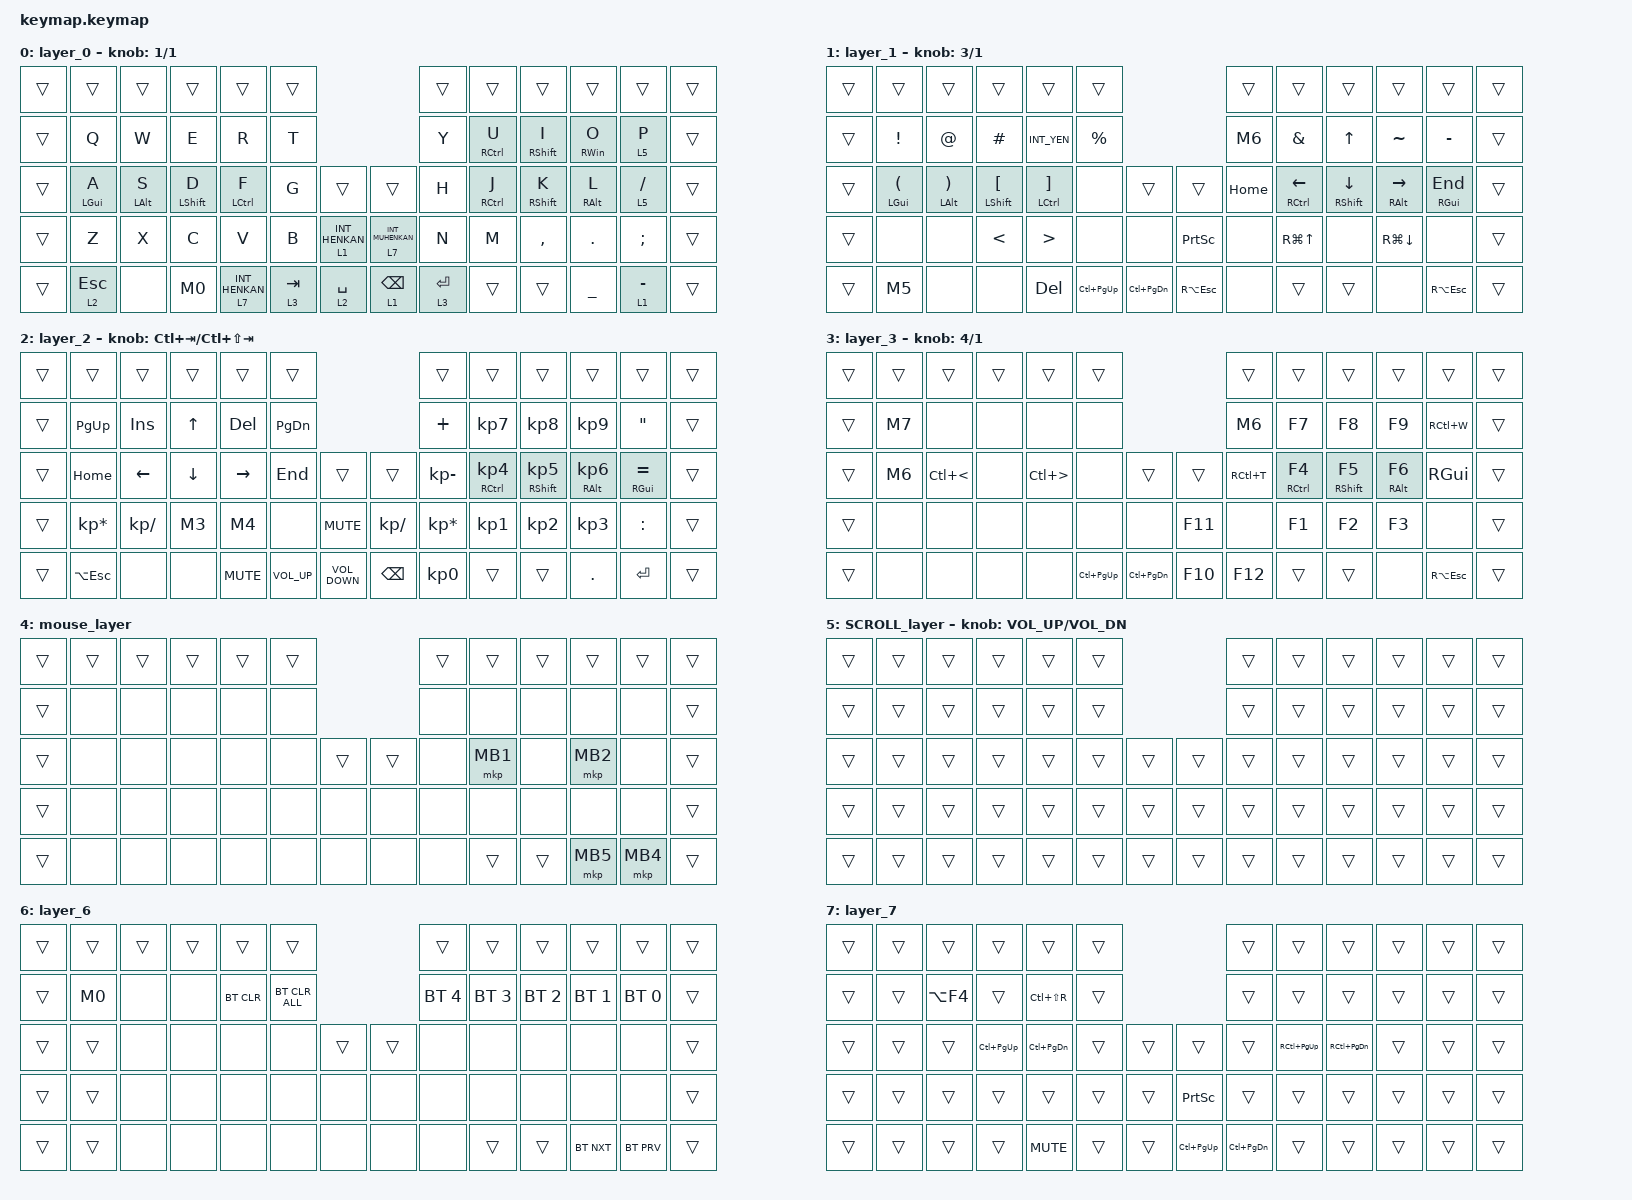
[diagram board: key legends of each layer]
#include <behaviors/hires_dial.dtsi>
#include <behaviors.dtsi>
#include <dt-bindings/zmk/bt.h>
#include <dt-bindings/zmk/keys.h>
#include <dt-bindings/zmk/pointing.h>

&mt {
    tapping-term-ms = <180>;
    flavor = "balanced";
    quick-tap-ms = <175>;
};

/ {
    combos {
        compatible = "zmk,combos";

        desktopright {
            bindings = <&kp RG(RC(RIGHT))>;
            key-positions = <35 36>;
            timeout-ms = <30>;
        };

        desktopleft {
            bindings = <&kp RG(RC(LEFT))>;
            key-positions = <33 32>;
            timeout-ms = <30>;
        };

        kigou {
            bindings = <&M1>;
            key-positions = <19 20>;
        };

        vlookup {
            bindings = <&M2>;
            key-positions = <48 47>;
        };

        layer7 {
            bindings = <&lt 7 DEL>;
            key-positions = <59 60>;
        };

        rogin {
            bindings = <&M0>;
            key-positions = <60 33 34 35 36>;
        };

        WINDOWLEFT {
            bindings = <&kp LG(LEFT_ARROW)>;
            key-positions = <14 15>;
            timeout-ms = <30>;
        };

        WINDOWRIGHT {
            bindings = <&kp LG(RIGHT)>;
            key-positions = <15 16>;
            timeout-ms = <30>;
        };

        copy {
            bindings = <&kp LC(C)>;
            key-positions = <33 34>;
        };

        paste {
            bindings = <&kp RC(RS(V))>;
            key-positions = <34 35>;
        };

        delete {
            bindings = <&kp RC(KP_MINUS)>;
            key-positions = <48 49>;
        };

        layer6 {
            bindings = <&lt 6 A>;
            key-positions = <58 59>;
        };

        copy_left {
            bindings = <&kp LC(C)>;
            key-positions = <42 41>;
        };

        paste_left {
            bindings = <&kp LC(V)>;
            key-positions = <28 27>;
        };
    };

    macros {
        M1: M1 {
            compatible = "zmk,behavior-macro";
            #binding-cells = <0>;
            bindings = <&kp INT5 &kp LEFT_PARENTHESIS &kp RIGHT_PARENTHESIS &kp LEFT &kp INT4>;
            label = "M1";
        };

        M0: M0 {
            compatible = "zmk,behavior-macro";
            #binding-cells = <0>;
            bindings = <&kp INT_MUHENKAN &kp KP_NUMBER_0 &kp KP_NUMBER_1 &kp KP_NUMBER_8 &kp KP_NUMBER_7 &kp KP_NUMBER_5 &kp KP_NUMBER_7 &kp KP_NUMBER_4 &kp KP_NUMBER_2 &kp INT_HENKAN>;
            label = "M0";
        };

        M2: M2 {
            compatible = "zmk,behavior-macro";
            #binding-cells = <0>;
            bindings = <&kp INTERNATIONAL_5 &kp EQUAL &kp V &kp L &kp O &kp O &kp K &kp U &kp P &kp LEFT_PARENTHESIS>;
            label = "M2";
        };

        M3: copy {
            compatible = "zmk,behavior-macro";
            #binding-cells = <0>;
            bindings = <&kp LC(C)>;
            label = "COPY";
        };

        M4: paste {
            compatible = "zmk,behavior-macro";
            #binding-cells = <0>;
            bindings = <&kp LC(V)>;
            label = "PASTE";
        };

        M5: M5 {
            compatible = "zmk,behavior-macro";
            #binding-cells = <0>;
            bindings = <&kp RA(F4)>;
            label = "M5";
        };

        M6: M6 {
            compatible = "zmk,behavior-macro";
            #binding-cells = <0>;
            bindings = <&kp G &kp I>;
            label = "M6";
        };

        M7: M7 {
            compatible = "zmk,behavior-macro";
            #binding-cells = <0>;
            bindings = <&kp G &kp D>;
            label = "M7";
        };
    };

    keymap {
        compatible = "zmk,keymap";

        layer_0 {
            bindings = <
&trans  &trans          &trans          &trans            &trans            &trans                                           &trans       &trans       &trans             &trans           &trans       &trans
&trans  &kp Q           &kp W           &kp E             &kp R             &kp T                                            &kp Y        &mt RCTRL U  &mt RIGHT_SHIFT I  &mt RIGHT_WIN O  &lt 5 P      &trans
&trans  &mt LEFT_GUI A  &mt LEFT_ALT S  &mt LEFT_SHIFT D  &mt LCTRL F       &kp G      &trans            &trans              &kp H        &mt RCTRL J  &mt RIGHT_SHIFT K  &mt RIGHT_ALT L  &lt 5 SLASH  &trans
&trans  &kp Z           &kp X           &kp C             &kp V             &kp B      &lt 1 INT_HENKAN  &lt 7 INT_MUHENKAN  &kp N        &kp M        &kp COMMA          &kp DOT          &kp SEMI     &trans
&trans  &lt 2 ESCAPE    &none           &M0               &lt 7 INT_HENKAN  &lt 3 TAB  &lt 2 SPACE       &lt 1 BACKSPACE     &lt 3 ENTER  &trans       &trans             &kp UNDERSCORE   &lt 1 MINUS  &trans
            >;
        };

        layer_1 {
            bindings = <
&trans  &trans                         &trans                          &trans               &trans            &trans                                              &trans    &trans            &trans           &trans               &trans             &trans
&trans  &kp EXCL                       &kp AT_SIGN                     &kp HASH             &kp INT_YEN       &kp PRCNT                                           &M6       &kp AMPS          &kp UP           &kp TILDE            &kp MINUS          &trans
&trans  &mt LEFT_GUI LEFT_PARENTHESIS  &mt LEFT_ALT RIGHT_PARENTHESIS  &mt LEFT_SHIFT LBKT  &mt LCTRL RBKT    &none            &trans             &trans          &kp HOME  &mt RCTRL LEFT    &mt RSHIFT DOWN  &mt RIGHT_ALT RIGHT  &mt RIGHT_GUI END  &trans
&trans  &none                          &none                           &kp LESS_THAN        &kp GREATER_THAN  &none            &none              &kp PSCRN       &none     &kp RG(UP_ARROW)  &none            &kp RG(DOWN_ARROW)   &none              &trans
&trans  &M5                            &none                           &none                &kp DELETE        &kp LC(PAGE_UP)  &kp LC(PAGE_DOWN)  &kp RA(ESCAPE)  &none     &trans            &trans           &none                &kp RA(ESCAPE)     &trans
            >;
        };

        layer_2 {
            bindings = <
&trans  &trans           &trans        &trans    &trans      &trans                                             &trans           &trans                 &trans                       &trans                     &trans               &trans
&trans  &kp PAGE_UP      &kp INS       &kp UP    &kp DEL     &kp PAGE_DOWN                                      &kp PLUS         &kp KP_NUMBER_7        &kp KP_NUMBER_8              &kp KP_NUMBER_9            &kp DQT              &trans
&trans  &kp HOME         &kp LEFT      &kp DOWN  &kp RIGHT   &kp END          &trans             &trans         &kp KP_MINUS     &mt RCTRL KP_NUMBER_4  &mt RIGHT_SHIFT KP_NUMBER_5  &mt RIGHT_ALT KP_NUMBER_6  &mt RIGHT_GUI EQUAL  &trans
&trans  &kp KP_MULTIPLY  &kp KP_SLASH  &M3       &M4         &none            &kp C_MUTE         &kp KP_DIVIDE  &kp KP_MULTIPLY  &kp KP_NUMBER_1        &kp KP_NUMBER_2              &kp KP_NUMBER_3            &kp COLON            &trans
&trans  &kp LA(ESC)      &none         &none     &kp C_MUTE  &kp C_VOLUME_UP  &kp C_VOLUME_DOWN  &kp BACKSPACE  &kp KP_NUMBER_0  &trans                 &trans                       &kp DOT                    &kp ENTER            &trans
            >;
        };

        layer_3 {
            bindings = <
&trans  &trans  &trans      &trans  &trans      &trans                                       &trans     &trans                &trans              &trans            &trans          &trans
&trans  &M7     &none       &none   &none       &none                                        &M6        &kp F7                &kp F8              &kp F9            &kp RC(W)       &trans
&trans  &M6     &kp LC(LT)  &none   &kp LC(GT)  &none            &trans             &trans   &kp RC(T)  &mt RIGHT_CONTROL F4  &mt RIGHT_SHIFT F5  &mt RIGHT_ALT F6  &kp RIGHT_GUI   &trans
&trans  &none   &none       &none   &none       &none            &none              &kp F11  &none      &kp F1                &kp F2              &kp F3            &none           &trans
&trans  &none   &none       &none   &none       &kp LC(PAGE_UP)  &kp LC(PAGE_DOWN)  &kp F10  &kp F12    &trans                &trans              &none             &kp RA(ESCAPE)  &trans
            >;
        };

        mouse_layer {
            bindings = <
&trans  &trans  &trans  &trans  &trans  &trans                  &trans  &trans    &trans  &trans    &trans    &trans
&trans  &none   &none   &none   &none   &none                   &none   &none     &none   &none     &none     &trans
&trans  &none   &none   &none   &none   &none   &trans  &trans  &none   &mkp MB1  &none   &mkp MB2  &none     &trans
&trans  &none   &none   &none   &none   &none   &none   &none   &none   &none     &none   &none     &none     &trans
&trans  &none   &none   &none   &none   &none   &none   &none   &none   &trans    &trans  &mkp MB5  &mkp MB4  &trans
            >;
        };

        SCROLL_layer {
            bindings = <
&trans  &trans  &trans  &trans  &trans  &trans                  &trans  &trans  &trans  &trans  &trans  &trans
&trans  &trans  &trans  &trans  &trans  &trans                  &trans  &trans  &trans  &trans  &trans  &trans
&trans  &trans  &trans  &trans  &trans  &trans  &trans  &trans  &trans  &trans  &trans  &trans  &trans  &trans
&trans  &trans  &trans  &trans  &trans  &trans  &trans  &trans  &trans  &trans  &trans  &trans  &trans  &trans
&trans  &trans  &trans  &trans  &trans  &trans  &trans  &trans  &trans  &trans  &trans  &trans  &trans  &trans
            >;
        };

        layer_6 {
            bindings = <
&trans  &trans  &trans  &trans  &trans      &trans                          &trans        &trans        &trans        &trans        &trans        &trans
&trans  &M0     &none   &none   &bt BT_CLR  &bt BT_CLR_ALL                  &bt BT_SEL 4  &bt BT_SEL 3  &bt BT_SEL 2  &bt BT_SEL 1  &bt BT_SEL 0  &trans
&trans  &trans  &none   &none   &none       &none           &trans  &trans  &none         &none         &none         &none         &none         &trans
&trans  &trans  &none   &none   &none       &none           &none   &none   &none         &none         &none         &none         &none         &trans
&trans  &trans  &none   &none   &none       &none           &none   &none   &none         &trans        &trans        &bt BT_NXT    &bt BT_PRV    &trans
            >;
        };

        layer_7 {
            bindings = <
&trans  &trans  &trans      &trans           &trans             &trans                           &trans             &trans           &trans             &trans  &trans  &trans
&trans  &trans  &kp LA(F4)  &trans           &kp LC(LS(R))      &trans                           &trans             &trans           &trans             &trans  &trans  &trans
&trans  &trans  &trans      &kp LC(PAGE_UP)  &kp LC(PAGE_DOWN)  &trans  &trans  &trans           &trans             &kp RC(PAGE_UP)  &kp RC(PAGE_DOWN)  &trans  &trans  &trans
&trans  &trans  &trans      &trans           &trans             &trans  &trans  &kp PRINTSCREEN  &trans             &trans           &trans             &trans  &trans  &trans
&trans  &trans  &trans      &trans           &kp C_MUTE         &trans  &trans  &kp LC(PAGE_UP)  &kp LC(PAGE_DOWN)  &trans           &trans             &trans  &trans  &trans
            >;
        };
    };
};

/* --- hires_dial関連は切り分けテストのため一時的に全削除 --- */

/ {
    sensors {
        compatible = "zmk,keymap-sensors";
        sensors = <&hires_dial>;
        triggers-per-rotation = <20>;
    };
};

&hires_dial_encoder { sensor = <&hires_dial>; };

&hires_dial_scroll { sensor = <&hires_dial>; };

&hires_dial_hscroll { sensor = <&hires_dial>; };

&hires_dial_radial_controller { sensor = <&hires_dial>; };

&{/keymap/layer_0} { sensor-bindings = <&hires_dial_scroll 1 1>; };

&{/keymap/layer_1} { sensor-bindings = <&hires_dial_scroll 3 1>; };

&{/keymap/layer_2} { sensor-bindings = <&hires_dial_encoder LC(TAB) LC(LS(TAB))>; };

&{/keymap/layer_3} { sensor-bindings = <&hires_dial_hscroll 4 1>; };

&{/keymap/SCROLL_layer} { sensor-bindings = <&hires_dial_encoder C_VOL_UP C_VOL_DN>; };

/ {
    hires_dial_scroll_listener: hires_dial_scroll_listener {
        compatible = "zmk,input-listener";
        status = "okay";
        device = <&hires_dial_scroll>;
    };

    hires_dial_hscroll_listener: hires_dial_hscroll_listener {
        compatible = "zmk,input-listener";
        status = "okay";
        device = <&hires_dial_hscroll>;
    };
};
